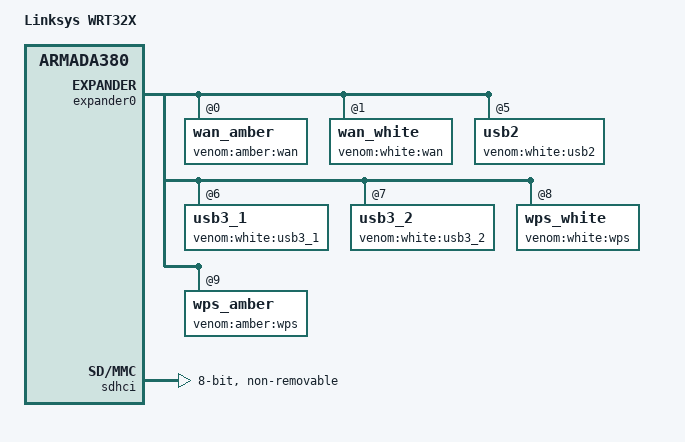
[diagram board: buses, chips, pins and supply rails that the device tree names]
/*
 * Device Tree file for the Linksys WRT32X (Venom)
 *
 * Copyright (C) 2016 Imre Kaloz <kaloz@openwrt.org>
 */

/dts-v1/;
#include <dt-bindings/gpio/gpio.h>
#include <dt-bindings/input/input.h>
#include "armada-385-linksys.dtsi"

/ {
	model = "Linksys WRT32X";
	compatible = "linksys,venom", "linksys,armada385", "marvell,armada385",
		     "marvell,armada380";
};

&expander0 {
	wan_amber@0 {
		label = "venom:amber:wan";
		reg = <0x0>;
	};

	wan_white@1 {
		label = "venom:white:wan";
		reg = <0x1>;
	};

	usb2@5 {
		label = "venom:white:usb2";
		reg = <0x5>;
		linux,default-trigger = "usbport";
	};

	usb3_1@6 {
		label = "venom:white:usb3_1";
		reg = <0x6>;
		linux,default-trigger = "usbport";
	};

	usb3_2@7 {
		label = "venom:white:usb3_2";
		reg = <0x7>;
		linux,default-trigger = "usbport";
	};

	wps_white@8 {
		label = "venom:white:wps";
		reg = <0x8>;
	};

	wps_amber@9 {
		label = "venom:amber:wps";
		reg = <0x9>;
	};
};

&gpio_leds {
	power {
		gpios = <&gpio1 24 GPIO_ACTIVE_HIGH>;
		label = "venom:white:power";
	};

	sata {
		gpios = <&gpio0 21 GPIO_ACTIVE_LOW>;
		label = "venom:white:sata";
	};

	wlan_2g {
		gpios = <&gpio1 13 GPIO_ACTIVE_LOW>;
		label = "venom:white:wlan_2g";
	};

	wlan_5g {
		gpios = <&gpio1 14 GPIO_ACTIVE_LOW>;
		label = "venom:white:wlan_5g";
	};
};

&gpio_leds_pins {
	marvell,pins = "mpp21", "mpp45", "mpp46", "mpp56";
};

&nand {
	/* Winbond/MXIC (W29N02GV) 256MiB, OEM Layout */
	partitions {
		compatible = "fixed-partitions";
		#address-cells = <1>;
		#size-cells = <1>;

		partition@0 {
			label = "u-boot";
			reg = <0x0000000 0x200000>;  /* 2MB */
			read-only;
		};

		partition@200000 {
			label = "u_env";
			reg = <0x200000 0x20000>;    /* 128KB */
		};

		partition@220000 {
			label = "s_env";
			reg = <0x220000 0x40000>;    /* 256KB */
		};

		partition@180000 {
			label = "unused_area";
			reg = <0x260000 0x5c0000>;   /* 5.75MB */
		};

		partition@7e0000 {
			label = "devinfo";
			reg = <0x7e0000 0x40000>;   /* 256KB */
			read-only;
		};

		/* kernel1 overlaps with rootfs1 by design */
		partition@900000 {
			label = "kernel1";
			reg = <0x900000 0x7b00000>;  /* 123MB */
		};

		partition@c00000 {
			label = "rootfs1";
			reg = <0xc00000 0x7800000>;  /* 120MB */
		};

		/* kernel2 overlaps with rootfs2 by design */
		partition@8400000 {
			label = "kernel2";
			reg = <0x8400000 0x7b00000>; /* 123MB */
		};

		partition@8700000 {
			label = "rootfs2";
			reg = <0x8700000 0x7800000>;  /* 120MB */
		};

		/* last MB is for the BBT, not writable */
		partition@ff00000 {
			label = "BBT";
			reg = <0xff00000 0x100000>;
		};
	};
};

&sdhci {
	pinctrl-names = "default";
	pinctrl-0 = <&sdhci_pins>;
	no-1-8-v;
	non-removable;
	wp-inverted;
	bus-width = <8>;
	status = "okay";
};

&usb3_1_vbus {
	gpio = <&gpio1 12 GPIO_ACTIVE_HIGH>;
};

&usb3_1_vbus_pins {
	marvell,pins = "mpp44";
};
